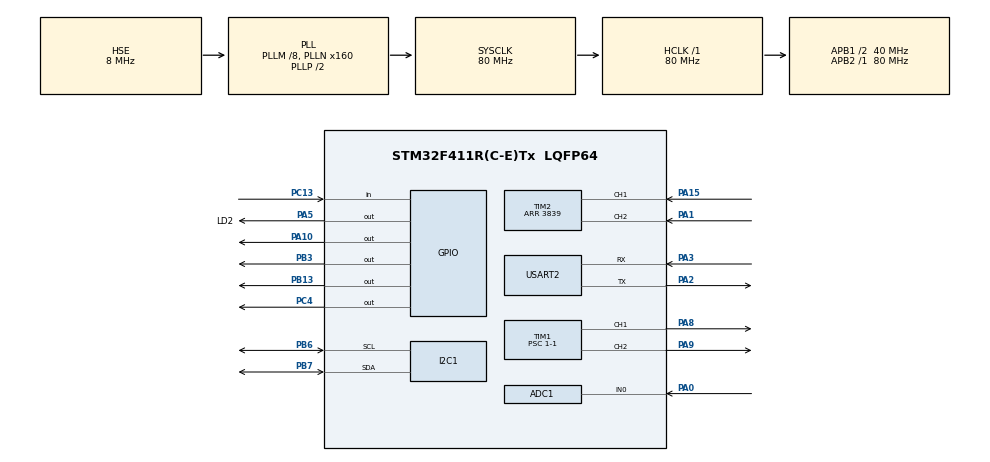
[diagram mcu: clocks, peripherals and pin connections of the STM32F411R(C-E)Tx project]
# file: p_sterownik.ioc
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ADC1.Channel-10\#ChannelRegularConversion=ADC_CHANNEL_0
ADC1.NbrOfConversionFlag=1
ADC1.Rank-10\#ChannelRegularConversion=1
ADC1.SamplingTime-10\#ChannelRegularConversion=ADC_SAMPLETIME_3CYCLES
ADC1.master=1
Dma.Request0=USART2_RX
Dma.Request1=USART2_TX
Dma.USART2_RX.0.Direction=DMA_PERIPH_TO_MEMORY
Dma.USART2_RX.0.FIFOMode=DMA_FIFOMODE_DISABLE
Dma.USART2_RX.0.Instance=DMA1_Stream5
Dma.USART2_RX.0.MemDataAlignment=DMA_MDATAALIGN_BYTE
Dma.USART2_RX.0.MemInc=DMA_MINC_ENABLE
Dma.USART2_RX.0.Mode=DMA_CIRCULAR
Dma.USART2_RX.0.PeriphDataAlignment=DMA_PDATAALIGN_BYTE
Dma.USART2_RX.0.PeriphInc=DMA_PINC_DISABLE
Dma.USART2_RX.0.Priority=DMA_PRIORITY_LOW
Dma.USART2_TX.1.Direction=DMA_MEMORY_TO_PERIPH
Dma.USART2_TX.1.FIFOMode=DMA_FIFOMODE_DISABLE
Dma.USART2_TX.1.Instance=DMA1_Stream6
Dma.USART2_TX.1.MemDataAlignment=DMA_MDATAALIGN_BYTE
Dma.USART2_TX.1.MemInc=DMA_MINC_ENABLE
Dma.USART2_TX.1.Mode=DMA_CIRCULAR
Dma.USART2_TX.1.PeriphDataAlignment=DMA_PDATAALIGN_BYTE
Dma.USART2_TX.1.PeriphInc=DMA_PINC_DISABLE
Dma.USART2_TX.1.Priority=DMA_PRIORITY_LOW
I2C1.I2C_Mode=I2C_Standard
Mcu.Family=STM32F4
Mcu.Name=STM32F411R(C-E)Tx
Mcu.Package=LQFP64
NVIC.DMA1_Stream5_IRQn=true\:0\:0\:false\:false\:true\:false\:true\:true
NVIC.DMA1_Stream6_IRQn=true\:0\:0\:false\:false\:true\:false\:true\:true
NVIC.I2C1_EV_IRQn=true\:0\:0\:false\:false\:true\:true\:true\:true
NVIC.PriorityGroup=NVIC_PRIORITYGROUP_4
NVIC.TIM1_UP_TIM10_IRQn=true\:0\:0\:false\:false\:true\:true\:true\:true
NVIC.USART2_IRQn=true\:0\:0\:false\:false\:true\:true\:true\:true
PA0-WKUP.Signal=ADCx_IN0
PA1.Signal=S_TIM2_CH2
PA10.Signal=GPIO_Output
PA15.Signal=S_TIM2_CH1_ETR
PA2.Mode=Asynchronous
PA2.Signal=USART2_TX
PA3.Mode=Asynchronous
PA3.Signal=USART2_RX
PA5.GPIO_Label=LD2
PA5.GPIO_Speed=GPIO_SPEED_FREQ_HIGH
PA5.Signal=GPIO_Output
PA8.Signal=S_TIM1_CH1
PA9.Signal=S_TIM1_CH2
PB13.GPIO_PuPd=GPIO_PULLUP
PB13.Signal=GPIO_Output
PB3.Signal=GPIO_Output
PB6.GPIO_Pu=GPIO_NOPULL
PB6.Mode=I2C
PB6.Signal=I2C1_SCL
PB7.GPIO_Pu=GPIO_NOPULL
PB7.Mode=I2C
PB7.Signal=I2C1_SDA
PC13-ANTI_TAMP.Signal=GPIO_Input
PC4.Signal=GPIO_Output
PH0\ -\ OSC_IN.Mode=HSE-External-Oscillator
PH0\ -\ OSC_IN.Signal=RCC_OSC_IN
PH1\ -\ OSC_OUT.Mode=HSE-External-Oscillator
PH1\ -\ OSC_OUT.Signal=RCC_OSC_OUT
ProjectManager.HeapSize=0x200
ProjectManager.StackSize=0x400
ProjectManager.TargetToolchain=STM32CubeIDE
RCC.48MHZClocksFreq_Value=40000000
RCC.AHBFreq_Value=80000000
RCC.APB1CLKDivider=RCC_HCLK_DIV2
RCC.APB1Freq_Value=40000000
RCC.APB1TimFreq_Value=80000000
RCC.APB2Freq_Value=80000000
RCC.APB2TimFreq_Value=80000000
RCC.CortexFreq_Value=80000000
RCC.HCLKFreq_Value=80000000
RCC.HSE_VALUE=8000000
RCC.HSI_VALUE=16000000
RCC.LSE_VALUE=32768
RCC.PLLM=8
RCC.PLLN=160
RCC.PLLSourceVirtual=RCC_PLLSOURCE_HSE
RCC.SYSCLKFreq_VALUE=80000000
RCC.SYSCLKSource=RCC_SYSCLKSOURCE_PLLCLK
RCC.VCOOutputFreq_Value=160000000
SH.ADCx_IN0.0=ADC1_IN0,IN0
SH.S_TIM1_CH1.0=TIM1_CH1,PWM Generation1 CH1
SH.S_TIM1_CH2.0=TIM1_CH2,PWM Generation2 CH2
SH.S_TIM2_CH1_ETR.0=TIM2_CH1,Encoder_Interface
SH.S_TIM2_CH2.0=TIM2_CH2,Encoder_Interface
TIM1.Channel-PWM\ Generation1\ CH1=TIM_CHANNEL_1
TIM1.Channel-PWM\ Generation2\ CH2=TIM_CHANNEL_2
TIM1.Period=1000-1
TIM1.Prescaler=1-1
TIM1.Pulse-PWM\ Generation1\ CH1=300
TIM1.Pulse-PWM\ Generation2\ CH2=300
TIM10.Period=80
TIM10.Prescaler=9999
TIM2.EncoderMode=TIM_ENCODERMODE_TI12
TIM2.IC1Filter=15
TIM2.IC2Filter=15
TIM2.Period=3839
TIM3.Period=20000
TIM3.Prescaler=64000
USART2.VirtualMode=VM_ASYNC
VP_TIM10_VS_ClockSourceINT.Mode=Enable_Timer
VP_TIM3_VS_ClockSourceINT.Mode=Internal
board=custom

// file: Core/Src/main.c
/* USER CODE BEGIN Header */
/**
  ******************************************************************************
  * @file           : main.c
  * @brief          : Main program body
  ******************************************************************************
  * @attention
  *
  * <h2><center>&copy; Copyright (c) 2022 STMicroelectronics.
  * All rights reserved.</center></h2>
  *
  * This software component is licensed by ST under BSD 3-Clause license,
  * the "License"; You may not use this file except in compliance with the
  * License. You may obtain a copy of the License at:
  *                        opensource.org/licenses/BSD-3-Clause
  *
  ******************************************************************************
  */
/* USER CODE END Header */
#include "main.h"

/* USER CODE BEGIN Includes */
#include "string.h"
#include <stdio.h>
#include "math.h"
#include "HMC5883L.h"

//#include "i2c.h"

/* USER CODE END Includes */

 ADC_HandleTypeDef hadc1;

I2C_HandleTypeDef hi2c1;

TIM_HandleTypeDef htim1;
TIM_HandleTypeDef htim2;
TIM_HandleTypeDef htim3;
TIM_HandleTypeDef htim10;

UART_HandleTypeDef huart2;
DMA_HandleTypeDef hdma_usart2_rx;
DMA_HandleTypeDef hdma_usart2_tx;

/* USER CODE BEGIN PV */
volatile const float c=5.2*3.14; // Licznik impulsow
volatile const float k=(5.2*3.14)/3840;
volatile uint16_t AD_RES = 0, Vamb, DC_Multiplier,al;
/* USER CODE END PV */

void SystemClock_Config(void);
static void MX_GPIO_Init(void);
static void MX_TIM1_Init(void);
static void MX_DMA_Init(void);
static void MX_I2C1_Init(void);
static void MX_USART2_UART_Init(void);
static void MX_TIM3_Init(void);
static void MX_TIM2_Init(void);
static void MX_ADC1_Init(void);
static void MX_TIM10_Init(void);

/* USER CODE BEGIN 0 */
/*void HAL_TIM_PeriodElapsedCallback(TIM_HandleTypeDef *htim)

 {
	  HAL_GPIO_TogglePin(GPIOA, GPIO_PIN_5);

 }*/

uint8_t Data[6];
int16_t rawData[3];
float scaledData[3];
float azymuth=0;
char msg[30];
int16_t xoffset=0, yoffset=0;
float direction = 359.5;

//Zatrzymanie silników
void stop()
{
    HAL_GPIO_WritePin(GPIOC, GPIO_PIN_4, RESET);
    HAL_GPIO_WritePin(GPIOA, GPIO_PIN_10, RESET);
    HAL_GPIO_WritePin(GPIOB, GPIO_PIN_13, RESET);
    HAL_GPIO_WritePin(GPIOB, GPIO_PIN_3, RESET);
}

//Ruch prosto
void move_forward(int time)
{

    HAL_GPIO_WritePin(GPIOC, GPIO_PIN_4, SET);
    HAL_GPIO_WritePin(GPIOB, GPIO_PIN_13, RESET);
    HAL_GPIO_WritePin(GPIOB, GPIO_PIN_3, SET);
    HAL_GPIO_WritePin(GPIOA, GPIO_PIN_10, RESET);

    HAL_Delay(time);
    stop();
}

//Obrót w prawo przez określony czas
void turn_right_time(int time)
{
    HAL_GPIO_WritePin(GPIOC, GPIO_PIN_4, SET);
    HAL_GPIO_WritePin(GPIOB, GPIO_PIN_13, RESET);
    HAL_GPIO_WritePin(GPIOB, GPIO_PIN_3, RESET);
    HAL_GPIO_WritePin(GPIOA, GPIO_PIN_10, SET);
    HAL_Delay(time);
    stop();
}

//Obrót w prawo (ciągły)
void turn_right()
{
    HAL_GPIO_WritePin(GPIOC, GPIO_PIN_4, SET);
    HAL_GPIO_WritePin(GPIOB, GPIO_PIN_3, RESET);
    HAL_GPIO_WritePin(GPIOB, GPIO_PIN_13, RESET);
    HAL_GPIO_WritePin(GPIOA, GPIO_PIN_10, SET);
}

//Obrót w lewo przez określony czas
void turn_left_time(int time)
{
    HAL_GPIO_WritePin(GPIOB, GPIO_PIN_3, SET);
    HAL_GPIO_WritePin(GPIOA, GPIO_PIN_10, RESET);
    HAL_GPIO_WritePin(GPIOC, GPIO_PIN_4, RESET);
    HAL_GPIO_WritePin(GPIOB, GPIO_PIN_13,SET);
    HAL_Delay(time);
    stop();
}

//Obrót w lewo (ciągły)
void turn_left()
{
    HAL_GPIO_WritePin(GPIOB, GPIO_PIN_3, SET);
    HAL_GPIO_WritePin(GPIOC, GPIO_PIN_4, RESET);
    HAL_GPIO_WritePin(GPIOA, GPIO_PIN_10, RESET);
    HAL_GPIO_WritePin(GPIOB, GPIO_PIN_13,SET);

}

//Wyślij napis przez UART
void send_string(char* s)
{
    HAL_UART_Transmit(&huart2, (uint8_t*)s, strlen(s), 100);
}

void magnetometer_init()
{
    uint8_t adres = 0x80;
    HAL_I2C_Mem_Write(&hi2c1, 0x0D<<1, 0x0A, 1, &adres, 1, HAL_MAX_DELAY);
    adres = 0x01;
    HAL_I2C_Mem_Write(&hi2c1, 0x0D<<1, 0x0B, 1, &adres, 1, HAL_MAX_DELAY);
    uint8_t rejestr = 0x1D;
    HAL_I2C_Mem_Write(&hi2c1, 0x0D<<1, 0x09, 1, &rejestr, 1, HAL_MAX_DELAY);
}

//Pojedynczy pomiar
void magnetometer_measure()
{
	//HAL_Delay(3);
    HAL_I2C_Mem_Read(&hi2c1, 0x0D<<1, 0x00, 1, (uint8_t*)Data, 6, HAL_MAX_DELAY);
    for(int i=0; i<3; i++)
    {
        rawData[i]=((int16_t)((uint16_t)Data[2*i+1] << 8) + Data[2*i]);
    }

    scaledData[0]= ((float)rawData[0]- xoffset)/3000.0;
    scaledData[1]= ((float)rawData[1]- yoffset)/3000.0;

    azymuth = atan2((float)scaledData[1],(float)scaledData[0]);

    if (azymuth < 0)
        azymuth += 2 * M_PI;
    if (azymuth > 2*M_PI)
        azymuth -= 2 * M_PI;

    azymuth = azymuth * 180/ M_PI;

    if (azymuth >= 0 && azymuth <= 270)
        azymuth = azymuth + 90.00;
    else if (azymuth>270)
        azymuth = azymuth - 270;

    sprintf(msg, "Azymut: %f \r\n", (float)azymuth);
    HAL_UART_Transmit(&huart2, (uint8_t*)msg, sizeof(msg), 100);

}

//Kalibracja magnetometru
void calibrate()
{

    float xmin,ymin,xmax,ymax;
    sprintf(msg, "Start \r\n");
    HAL_UART_Transmit(&huart2, (uint8_t*)msg, sizeof(msg), 100);

    magnetometer_measure();
    xmin=xmax=rawData[0];
    ymin=ymax=rawData[1];
    turn_left();

    while (HAL_GPIO_ReadPin(GPIOC, GPIO_PIN_13) != GPIO_PIN_RESET)

    {
        magnetometer_measure();
        if(rawData[0] < xmin)
            xmin = rawData[0];
        if(rawData[0] > xmax)
            xmax = rawData[0];
        if(rawData[1] < ymin)
            ymin = rawData[1];
        if(rawData[1] > ymax)
            ymax = rawData[1];
    }

    sprintf(msg, "xmin: %f \r\n", (float)xmin);
    HAL_UART_Transmit(&huart2, (uint8_t*)msg, sizeof(msg), 100);
    sprintf(msg, "xmax: %f \r\n", (float)xmax);
    HAL_UART_Transmit(&huart2, (uint8_t*)msg, sizeof(msg), 100);

    xoffset = (xmin+xmax)/2;
    yoffset = (ymin+ymax)/2;
    stop();

}

//Obrót w kierunku polnocy
void north()
{
    magnetometer_measure();
    if((azymuth >= 0.00) && (azymuth <= 180.00))
        turn_left();
    else
        turn_right();

    while(azymuth >= 1.00 && azymuth <=359.00)
    {
        magnetometer_measure();
    }
    stop();
}

void magnetic_direction()
{
   // magnetometer_measure();
    if(direction - azymuth >= 180.00)
        turn_left();
    else
        turn_right();
/*
    while(1)
       {
       	if((azymuth <= direction + 1.00) && (azymuth >= direction - 1.00))
       			break;
           magnetometer_measure();
       }
*/

if(direction >= 1.00 && direction <= 359.00){
    while(1)
    {
    	if((azymuth <= direction + 1.00) && (azymuth >= direction - 1.00))
    			break;
        magnetometer_measure();
    }
}
else if(direction >= 0.00 && direction < 1.00){
    while(1)
    {
    	if((azymuth <= direction + 1.00 ) || (azymuth >= direction - 1.00 + 360.00))
    			break;
        magnetometer_measure();
    }
}
else if(direction > 359.00 && direction <= 360.00){
    while(1)
    {
    	if((azymuth <= direction + 1.00 -360.00 ) || (azymuth >= direction - 1.00))
    			break;
        magnetometer_measure();
    }
}

    stop();
}

//Zmiana predkosci silników
void change_speed(uint32_t pulse)
{
    htim1.Instance->CCR1=pulse;
    htim1.Instance->CCR2=pulse;
}

void move_forward_1()
{

    HAL_GPIO_WritePin(GPIOC, GPIO_PIN_4, SET);
    HAL_GPIO_WritePin(GPIOB, GPIO_PIN_13, RESET);
    HAL_GPIO_WritePin(GPIOB, GPIO_PIN_3, SET);
    HAL_GPIO_WritePin(GPIOA, GPIO_PIN_10, RESET);

   // HAL_Delay(time);
  //  stop();
}

void move_(float x){
	TIM2->CNT=0;
	  move_forward_1();

	while(TIM2->CNT*k<=x){
		if(x>c && TIM2->CNT==3839){
			x=x-c;
			HAL_Delay(1);
			}

	}

	if(TIM2->CNT*k>=x){
		al=TIM2->CNT;
		stop();
	//HAL_TIM_Encoder_Stop(&htim2, TIM_CHANNEL_ALL);
}}

void lights(){

	 // Start ADC Conversion
	    	        HAL_ADC_Start(&hadc1);
	    	       // Poll ADC1 Perihperal & TimeOut = 1mSec
	    	        HAL_ADC_PollForConversion(&hadc1, 1);
	    	       // Read The ADC Conversion Result & Map It To PWM DutyCycle
	    	        AD_RES = HAL_ADC_GetValue(&hadc1);

	if(AD_RES<510)
	   HAL_GPIO_WritePin(LD2_GPIO_Port, LD2_Pin, GPIO_PIN_SET);

	if(AD_RES>510)
	   HAL_GPIO_WritePin(LD2_GPIO_Port, LD2_Pin, GPIO_PIN_RESET);

	}

void HAL_TIM_PeriodElapsedCallback(TIM_HandleTypeDef *htim){
	if(htim->Instance == TIM10){ // Jeżeli przerwanie pochodzi od timera 10
		lights();
	}
}

void rotate_180(){
	   magnetometer_measure();
	if(azymuth >= 180)
	azymuth=180.00+azymuth;
	else
		azymuth=180.00-azymuth;

	magnetic_direction();
}

/* USER CODE END 0 */

int main(void)
{

  /* MCU Configuration--------------------------------------------------------*/

  /* Reset of all peripherals, Initializes the Flash interface and the Systick. */
  HAL_Init();

  /* Configure the system clock */
  SystemClock_Config();

  /* Initialize all configured peripherals */
  MX_GPIO_Init();
  MX_TIM1_Init();
  MX_DMA_Init();
  MX_I2C1_Init();
  MX_USART2_UART_Init();
  MX_TIM3_Init();
  MX_TIM2_Init();
  MX_ADC1_Init();
  MX_TIM10_Init();
  /* USER CODE BEGIN 2 */
   __HAL_RCC_I2C1_CLK_ENABLE();
   __I2C1_CLK_ENABLE();
   __HAL_RCC_USART2_CLK_ENABLE();
   HAL_TIM_Base_Start_IT(&htim1);
   HAL_TIM_PWM_Start(&htim1, TIM_CHANNEL_1);
   HAL_TIM_PWM_Start(&htim1, TIM_CHANNEL_2);
   HAL_TIM_Encoder_Start(&htim2, TIM_CHANNEL_ALL);

   __HAL_RCC_GPIOA_CLK_ENABLE();
   	__HAL_RCC_USART2_CLK_ENABLE();
   	__HAL_RCC_ADC1_CLK_ENABLE();
   //	HAL_ADCEx_Calibration_Start(&hadc1);

    HAL_ADC_Start(&hadc1);
    HAL_ADC_PollForConversion(&hadc1, 1);
    Vamb = HAL_ADC_GetValue(&hadc1);
    DC_Multiplier = 65535/(4096-Vamb);

    HAL_TIM_Base_Start_IT(&htim10);
    change_speed(370);
  // HAL_Delay(5000);
     magnetometer_init();
     calibrate();
     HAL_Delay(3000);
     north();
     HAL_Delay(3000);
    move_(100);
    HAL_Delay(3000);
    turn_right_time(4000);
     HAL_Delay(3000);
    move_(50);
     HAL_Delay(3000);
     turn_left_time(4000);
     HAL_Delay(3000);
     move_(100);

    //HAL_Delay(5000);
    //move_(20);

    while(1){

    	}
    /*	if(k*cnt>10){
    	stop();
    	}
    	}*/
   // HAL_Delay(1000);
  //  magnetic_direction();
  //  HAL_Delay(1000);
  //  turn_left_time(2000);
  //  HAL_Delay(1000);

    /*HAL_Delay(1000);
    turn_left_time(1000);
    north();
    HAL_Delay(1000);
    turn_right_time(1000);
    north();*/

  /* USER CODE END 2 */

  /* Infinite loop */
  /* USER CODE BEGIN WHILE */
    while (1)
    {
   //     HAL_GPIO_TogglePin(GPIOA, GPIO_PIN_5);
    //    HAL_Delay(500);
   //     magnetometer_measure();
    /* USER CODE END WHILE */

    }
}

void SystemClock_Config(void)
{
  RCC_OscInitTypeDef RCC_OscInitStruct = {0};
  RCC_ClkInitTypeDef RCC_ClkInitStruct = {0};

  /** Configure the main internal regulator output voltage
  */
  __HAL_RCC_PWR_CLK_ENABLE();
  __HAL_PWR_VOLTAGESCALING_CONFIG(PWR_REGULATOR_VOLTAGE_SCALE1);

  /** Initializes the RCC Oscillators according to the specified parameters
  * in the RCC_OscInitTypeDef structure.
  */
  RCC_OscInitStruct.OscillatorType = RCC_OSCILLATORTYPE_HSE;
  RCC_OscInitStruct.HSEState = RCC_HSE_ON;
  RCC_OscInitStruct.PLL.PLLState = RCC_PLL_ON;
  RCC_OscInitStruct.PLL.PLLSource = RCC_PLLSOURCE_HSE;
  RCC_OscInitStruct.PLL.PLLM = 8;
  RCC_OscInitStruct.PLL.PLLN = 160;
  RCC_OscInitStruct.PLL.PLLP = RCC_PLLP_DIV2;
  RCC_OscInitStruct.PLL.PLLQ = 4;
  if (HAL_RCC_OscConfig(&RCC_OscInitStruct) != HAL_OK)
  {
    Error_Handler();
  }

  /** Initializes the CPU, AHB and APB buses clocks
  */
  RCC_ClkInitStruct.ClockType = RCC_CLOCKTYPE_HCLK|RCC_CLOCKTYPE_SYSCLK
                              |RCC_CLOCKTYPE_PCLK1|RCC_CLOCKTYPE_PCLK2;
  RCC_ClkInitStruct.SYSCLKSource = RCC_SYSCLKSOURCE_PLLCLK;
  RCC_ClkInitStruct.AHBCLKDivider = RCC_SYSCLK_DIV1;
  RCC_ClkInitStruct.APB1CLKDivider = RCC_HCLK_DIV2;
  RCC_ClkInitStruct.APB2CLKDivider = RCC_HCLK_DIV1;

  if (HAL_RCC_ClockConfig(&RCC_ClkInitStruct, FLASH_LATENCY_2) != HAL_OK)
  {
    Error_Handler();
  }
}

static void MX_ADC1_Init(void)
{

  ADC_ChannelConfTypeDef sConfig = {0};

  /** Configure the global features of the ADC (Clock, Resolution, Data Alignment and number of conversion)
  */
  hadc1.Instance = ADC1;
  hadc1.Init.ClockPrescaler = ADC_CLOCK_SYNC_PCLK_DIV4;
  hadc1.Init.Resolution = ADC_RESOLUTION_12B;
  hadc1.Init.ScanConvMode = DISABLE;
  hadc1.Init.ContinuousConvMode = DISABLE;
  hadc1.Init.DiscontinuousConvMode = DISABLE;
  hadc1.Init.ExternalTrigConvEdge = ADC_EXTERNALTRIGCONVEDGE_NONE;
  hadc1.Init.ExternalTrigConv = ADC_SOFTWARE_START;
  hadc1.Init.DataAlign = ADC_DATAALIGN_RIGHT;
  hadc1.Init.NbrOfConversion = 1;
  hadc1.Init.DMAContinuousRequests = DISABLE;
  hadc1.Init.EOCSelection = ADC_EOC_SINGLE_CONV;
  if (HAL_ADC_Init(&hadc1) != HAL_OK)
  {
    Error_Handler();
  }

  /** Configure for the selected ADC regular channel its corresponding rank in the sequencer and its sample time.
  */
  sConfig.Channel = ADC_CHANNEL_0;
  sConfig.Rank = 1;
  sConfig.SamplingTime = ADC_SAMPLETIME_3CYCLES;
  if (HAL_ADC_ConfigChannel(&hadc1, &sConfig) != HAL_OK)
  {
    Error_Handler();
  }

}

static void MX_I2C1_Init(void)
{

  hi2c1.Instance = I2C1;
  hi2c1.Init.ClockSpeed = 100000;
  hi2c1.Init.DutyCycle = I2C_DUTYCYCLE_2;
  hi2c1.Init.OwnAddress1 = 0;
  hi2c1.Init.AddressingMode = I2C_ADDRESSINGMODE_7BIT;
  hi2c1.Init.DualAddressMode = I2C_DUALADDRESS_DISABLE;
  hi2c1.Init.OwnAddress2 = 0;
  hi2c1.Init.GeneralCallMode = I2C_GENERALCALL_DISABLE;
  hi2c1.Init.NoStretchMode = I2C_NOSTRETCH_DISABLE;
  if (HAL_I2C_Init(&hi2c1) != HAL_OK)
  {
    Error_Handler();
  }

}

static void MX_TIM1_Init(void)
{

  TIM_MasterConfigTypeDef sMasterConfig = {0};
  TIM_OC_InitTypeDef sConfigOC = {0};
  TIM_BreakDeadTimeConfigTypeDef sBreakDeadTimeConfig = {0};

  htim1.Instance = TIM1;
  htim1.Init.Prescaler = 1-1;
  htim1.Init.CounterMode = TIM_COUNTERMODE_UP;
  htim1.Init.Period = 1000-1;
  htim1.Init.ClockDivision = TIM_CLOCKDIVISION_DIV1;
  htim1.Init.RepetitionCounter = 0;
  htim1.Init.AutoReloadPreload = TIM_AUTORELOAD_PRELOAD_DISABLE;
  if (HAL_TIM_PWM_Init(&htim1) != HAL_OK)
  {
    Error_Handler();
  }
  sMasterConfig.MasterOutputTrigger = TIM_TRGO_RESET;
  sMasterConfig.MasterSlaveMode = TIM_MASTERSLAVEMODE_DISABLE;
  if (HAL_TIMEx_MasterConfigSynchronization(&htim1, &sMasterConfig) != HAL_OK)
  {
    Error_Handler();
  }
  sConfigOC.OCMode = TIM_OCMODE_PWM1;
  sConfigOC.Pulse = 300;
  sConfigOC.OCPolarity = TIM_OCPOLARITY_HIGH;
  sConfigOC.OCNPolarity = TIM_OCNPOLARITY_HIGH;
  sConfigOC.OCFastMode = TIM_OCFAST_DISABLE;
  sConfigOC.OCIdleState = TIM_OCIDLESTATE_RESET;
  sConfigOC.OCNIdleState = TIM_OCNIDLESTATE_RESET;
  if (HAL_TIM_PWM_ConfigChannel(&htim1, &sConfigOC, TIM_CHANNEL_1) != HAL_OK)
  {
    Error_Handler();
  }
  if (HAL_TIM_PWM_ConfigChannel(&htim1, &sConfigOC, TIM_CHANNEL_2) != HAL_OK)
  {
    Error_Handler();
  }
  sBreakDeadTimeConfig.OffStateRunMode = TIM_OSSR_DISABLE;
  sBreakDeadTimeConfig.OffStateIDLEMode = TIM_OSSI_DISABLE;
  sBreakDeadTimeConfig.LockLevel = TIM_LOCKLEVEL_OFF;
  sBreakDeadTimeConfig.DeadTime = 0;
  sBreakDeadTimeConfig.BreakState = TIM_BREAK_DISABLE;
  sBreakDeadTimeConfig.BreakPolarity = TIM_BREAKPOLARITY_HIGH;
  sBreakDeadTimeConfig.AutomaticOutput = TIM_AUTOMATICOUTPUT_DISABLE;
  if (HAL_TIMEx_ConfigBreakDeadTime(&htim1, &sBreakDeadTimeConfig) != HAL_OK)
  {
    Error_Handler();
  }
  HAL_TIM_MspPostInit(&htim1);

}

static void MX_TIM2_Init(void)
{

  TIM_Encoder_InitTypeDef sConfig = {0};
  TIM_MasterConfigTypeDef sMasterConfig = {0};

  htim2.Instance = TIM2;
  htim2.Init.Prescaler = 0;
  htim2.Init.CounterMode = TIM_COUNTERMODE_UP;
  htim2.Init.Period = 3839;
  htim2.Init.ClockDivision = TIM_CLOCKDIVISION_DIV1;
  htim2.Init.AutoReloadPreload = TIM_AUTORELOAD_PRELOAD_DISABLE;
  sConfig.EncoderMode = TIM_ENCODERMODE_TI12;
  sConfig.IC1Polarity = TIM_ICPOLARITY_RISING;
  sConfig.IC1Selection = TIM_ICSELECTION_DIRECTTI;
  sConfig.IC1Prescaler = TIM_ICPSC_DIV1;
  sConfig.IC1Filter = 15;
  sConfig.IC2Polarity = TIM_ICPOLARITY_RISING;
  sConfig.IC2Selection = TIM_ICSELECTION_DIRECTTI;
  sConfig.IC2Prescaler = TIM_ICPSC_DIV1;
  sConfig.IC2Filter = 15;
  if (HAL_TIM_Encoder_Init(&htim2, &sConfig) != HAL_OK)
  {
    Error_Handler();
  }
  sMasterConfig.MasterOutputTrigger = TIM_TRGO_RESET;
  sMasterConfig.MasterSlaveMode = TIM_MASTERSLAVEMODE_DISABLE;
  if (HAL_TIMEx_MasterConfigSynchronization(&htim2, &sMasterConfig) != HAL_OK)
  {
    Error_Handler();
  }

}

static void MX_TIM3_Init(void)
{

  TIM_ClockConfigTypeDef sClockSourceConfig = {0};
  TIM_MasterConfigTypeDef sMasterConfig = {0};

  htim3.Instance = TIM3;
  htim3.Init.Prescaler = 64000;
  htim3.Init.CounterMode = TIM_COUNTERMODE_UP;
  htim3.Init.Period = 20000;
  htim3.Init.ClockDivision = TIM_CLOCKDIVISION_DIV1;
  htim3.Init.AutoReloadPreload = TIM_AUTORELOAD_PRELOAD_DISABLE;
  if (HAL_TIM_Base_Init(&htim3) != HAL_OK)
  {
    Error_Handler();
  }
  sClockSourceConfig.ClockSource = TIM_CLOCKSOURCE_INTERNAL;
  if (HAL_TIM_ConfigClockSource(&htim3, &sClockSourceConfig) != HAL_OK)
  {
    Error_Handler();
  }
  sMasterConfig.MasterOutputTrigger = TIM_TRGO_RESET;
  sMasterConfig.MasterSlaveMode = TIM_MASTERSLAVEMODE_DISABLE;
  if (HAL_TIMEx_MasterConfigSynchronization(&htim3, &sMasterConfig) != HAL_OK)
  {
    Error_Handler();
  }

}

static void MX_TIM10_Init(void)
{

  htim10.Instance = TIM10;
  htim10.Init.Prescaler = 9999;
  htim10.Init.CounterMode = TIM_COUNTERMODE_UP;
  htim10.Init.Period = 80;
  htim10.Init.ClockDivision = TIM_CLOCKDIVISION_DIV1;
  htim10.Init.AutoReloadPreload = TIM_AUTORELOAD_PRELOAD_DISABLE;
  if (HAL_TIM_Base_Init(&htim10) != HAL_OK)
  {
    Error_Handler();
  }

}

static void MX_USART2_UART_Init(void)
{

  huart2.Instance = USART2;
  huart2.Init.BaudRate = 115200;
  huart2.Init.WordLength = UART_WORDLENGTH_8B;
  huart2.Init.StopBits = UART_STOPBITS_1;
  huart2.Init.Parity = UART_PARITY_NONE;
  huart2.Init.Mode = UART_MODE_TX_RX;
  huart2.Init.HwFlowCtl = UART_HWCONTROL_NONE;
  huart2.Init.OverSampling = UART_OVERSAMPLING_16;
  if (HAL_UART_Init(&huart2) != HAL_OK)
  {
    Error_Handler();
  }

}

static void MX_DMA_Init(void)
{

  /* DMA controller clock enable */
  __HAL_RCC_DMA1_CLK_ENABLE();

  /* DMA interrupt init */
  /* DMA1_Stream5_IRQn interrupt configuration */
  HAL_NVIC_SetPriority(DMA1_Stream5_IRQn, 0, 0);
  HAL_NVIC_EnableIRQ(DMA1_Stream5_IRQn);
  /* DMA1_Stream6_IRQn interrupt configuration */
  HAL_NVIC_SetPriority(DMA1_Stream6_IRQn, 0, 0);
  HAL_NVIC_EnableIRQ(DMA1_Stream6_IRQn);

}

static void MX_GPIO_Init(void)
{
  GPIO_InitTypeDef GPIO_InitStruct = {0};

  /* GPIO Ports Clock Enable */
  __HAL_RCC_GPIOC_CLK_ENABLE();
  __HAL_RCC_GPIOH_CLK_ENABLE();
  __HAL_RCC_GPIOA_CLK_ENABLE();
  __HAL_RCC_GPIOB_CLK_ENABLE();

  /*Configure GPIO pin Output Level */
  HAL_GPIO_WritePin(GPIOA, LD2_Pin|GPIO_PIN_10, GPIO_PIN_RESET);

  /*Configure GPIO pin Output Level */
  HAL_GPIO_WritePin(GPIOC, GPIO_PIN_4, GPIO_PIN_RESET);

  /*Configure GPIO pin Output Level */
  HAL_GPIO_WritePin(GPIOB, GPIO_PIN_13|GPIO_PIN_3, GPIO_PIN_RESET);

  /*Configure GPIO pin : PC13 */
  GPIO_InitStruct.Pin = GPIO_PIN_13;
  GPIO_InitStruct.Mode = GPIO_MODE_INPUT;
  GPIO_InitStruct.Pull = GPIO_NOPULL;
  HAL_GPIO_Init(GPIOC, &GPIO_InitStruct);

  /*Configure GPIO pin : LD2_Pin */
  GPIO_InitStruct.Pin = LD2_Pin;
  GPIO_InitStruct.Mode = GPIO_MODE_OUTPUT_PP;
  GPIO_InitStruct.Pull = GPIO_NOPULL;
  GPIO_InitStruct.Speed = GPIO_SPEED_FREQ_HIGH;
  HAL_GPIO_Init(LD2_GPIO_Port, &GPIO_InitStruct);

  /*Configure GPIO pin : PC4 */
  GPIO_InitStruct.Pin = GPIO_PIN_4;
  GPIO_InitStruct.Mode = GPIO_MODE_OUTPUT_PP;
  GPIO_InitStruct.Pull = GPIO_NOPULL;
  GPIO_InitStruct.Speed = GPIO_SPEED_FREQ_LOW;
  HAL_GPIO_Init(GPIOC, &GPIO_InitStruct);

  /*Configure GPIO pin : PB13 */
  GPIO_InitStruct.Pin = GPIO_PIN_13;
  GPIO_InitStruct.Mode = GPIO_MODE_OUTPUT_PP;
  GPIO_InitStruct.Pull = GPIO_PULLUP;
  GPIO_InitStruct.Speed = GPIO_SPEED_FREQ_LOW;
  HAL_GPIO_Init(GPIOB, &GPIO_InitStruct);

  /*Configure GPIO pin : PA10 */
  GPIO_InitStruct.Pin = GPIO_PIN_10;
  GPIO_InitStruct.Mode = GPIO_MODE_OUTPUT_PP;
  GPIO_InitStruct.Pull = GPIO_NOPULL;
  GPIO_InitStruct.Speed = GPIO_SPEED_FREQ_LOW;
  HAL_GPIO_Init(GPIOA, &GPIO_InitStruct);

  /*Configure GPIO pin : PB3 */
  GPIO_InitStruct.Pin = GPIO_PIN_3;
  GPIO_InitStruct.Mode = GPIO_MODE_OUTPUT_PP;
  GPIO_InitStruct.Pull = GPIO_NOPULL;
  GPIO_InitStruct.Speed = GPIO_SPEED_FREQ_LOW;
  HAL_GPIO_Init(GPIOB, &GPIO_InitStruct);

}

void Error_Handler(void)
{
    __disable_irq();
    while (1)
    {
    }
}
